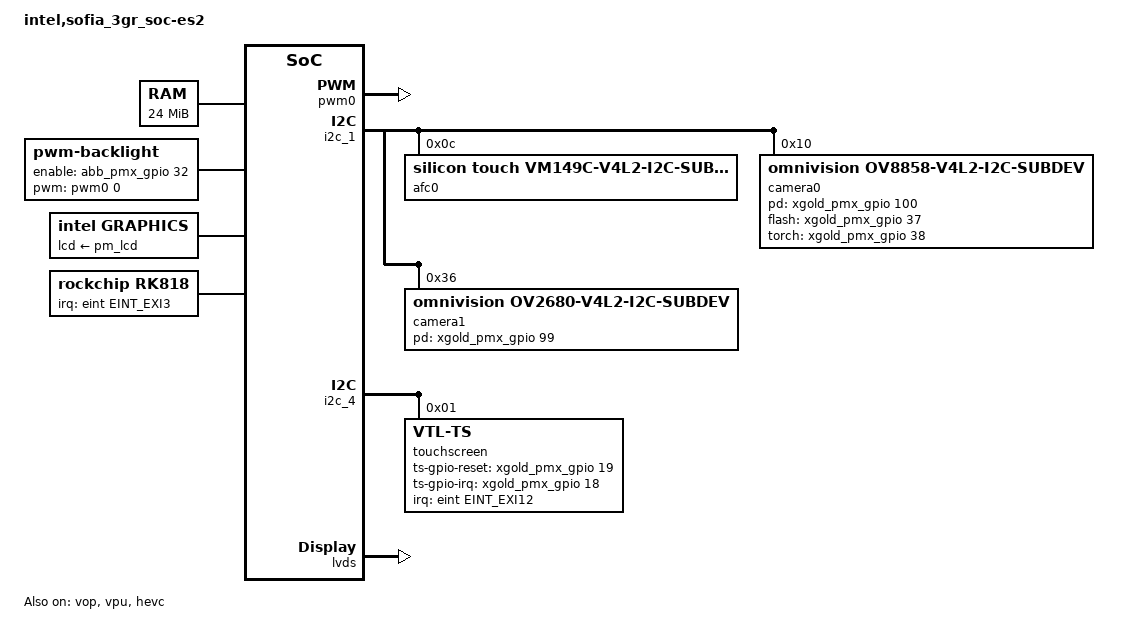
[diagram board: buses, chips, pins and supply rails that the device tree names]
/dts-v1/;
#include "xgold/sofia_3gr_soc/irq.h"
#include <dt-bindings/sofiafb/sofia_fb.h>
/ {
	#address-cells = <1>;
	#size-cells = <1>;
	model = "intel,sofia_3gr_soc-es2";
	compatible = "intel,sofia_3gr_soc-svb", "intel,xgold";

	#include "xgold/sofia_3gr_soc/sofia_3gr_soc.dtsi"
	#include "xgold/sofia_3gr_soc/irq.dtsi"
	#include "xgold/mobilevisor/mobilevisor.dtsi"
	#include "xgold/sofia_3gr_soc/clock-es1.dtsi"
	#include "xgold/sofia_3gr_soc/regulator.dtsi"
	#include "xgold/sofia_3gr_soc/device-pm-reg.dtsi"
	#include "xgold/pmic/granite.dtsi"
	#include "xgold/sofia_3gr_soc/cpufreq.dtsi"

	chosen {
	};

	aliases {
	};

	memory {
		device_type = "memory";
		reg = <0x800000 0x1800000>;
	};

	reserved-memory {
		#address-cells = <1>;
		#size-cells = <1>;
		ranges;

		/* global autoconfigured region for contiguous allocations */
		cma_default_region: region@0 {
			size = <0x08000000>;
			limit = <0x10000000>;
			linux,cma-default;
		};
	};

	vmodem {
		compatible = "intel,vmodem";
		vmodem,nvm-part = < 3 >;
		vmodem,part-names =
			"/dev/block/platform/soc0/e0000000.noc/by-name/ImcPartID022",
			"/dev/block/platform/soc0/e0000000.noc/by-name/ImcPartID023",
			"/dev/block/platform/soc0/e0000000.noc/by-name/ImcPartID024";
		part-addr,part-size =
			<0x1FA78000 0x40000>,
			<0x1fab8000 0x40000>,
			<0x1FAF8000 0x80000>;
	};

	ion {
		compatible = "rockchip,ion";
#ifndef RECOVERY_KERNEL
		secvm-handler;
#endif
		#address-cells = < 1 >;
		#size-cells = < 0 >;
		cma-heap {
			memory-region = <&cma_default_region>;
			rockchip,ion_heap = < 4 >;
		};
		system-heap {
			rockchip,ion_heap = < 0 >;
		};
	};

	backlight {
                compatible = "pwm-backlight";
                brightness-levels = <
                         20  20  20  20  20  20  20  20
                         20  20  20  20  20  20  20  20
                         20  20  20  20  20  21  22  23
                         24  25  26  27  28  29  30  31
                         32  33  34  35  36  37  38  39
                         40  41  42  43  44  45  46  47
                         48  49  50  51  52  53  54  55
                         56  57  58  59  60  61  62  63
                         64  65  66  67  68  69  70  71
                         72  73  74  75  76  77  78  79
                         80  81  82  83  84  85  86  87
                         88  89  90  91  92  93  94  95
                         96  97  98  99 100 101 102 103
                        104 105 106 107 108 109 110 111
                        112 113 114 115 116 117 118 119
                        120 121 122 123 124 125 126 127
                        128 129 130 131 132 133 134 135
                        136 137 138 139 140 141 142 143
                        144 145 146 147 148 149 150 151
                        152 153 154 155 156 157 158 159
                        160 161 162 163 164 165 166 167
                        168 169 170 171 172 173 174 175
                        176 177 178 179 180 181 182 183
                        184 185 186 187 188 189 190 191
                        192 193 194 195 196 197 198 199
                        200 201 202 203 204 205 206 207
                        208 209 210 211 212 213 214 215
                        216 217 218 219 220 221 222 223
                        224 225 226 227 228 229 230 231
                        232 233 234 235 236 237 238 239
                        240 241 242 243 244 245 246 247
                        248 249 250 251 252 253 254 255>;
                default-brightness-level = <128>;
                enable-gpios = <&abb_pmx_gpio 32 0>;
                pinctrl-names = "default", "sleep", "inactive";
                pinctrl-0 = <&led_agold_default_pins>;
                pinctrl-1 = <&led_agold_sleep_pins>;
                pinctrl-2 = <&led_agold_inactive_pins>;
                pwms = <&pwm0 0 25000 PWM_POLARITY_INVERTED>;
                dev-name = "lcd-backlight";
        };

#ifndef RECOVERY_KERNEL
	/*headset:headset {
		compatible = "intel,headset";
		#address-cells = < 0 >;
		reg = <0xE6501C00 0x4>;
		reg-names = "headset-registers";
		interrupts = < 0 1 >;
		interrupt-parent = < &headset>;
		#interrupt-cells = < 1 >;
		interrupt-map = <
			 0 &ag620_pmu ABB_PMU_ACD1 XGOLD_IRQ_TYPE_NONE
			 1 &ag620_pmu ABB_PMU_ACD2 XGOLD_IRQ_TYPE_NONE
			>;
		interrupt-names = "acd1", "acd2";
		io-channel-names = "ACCID_ADC";
		io-channels = < &meas 4 >;
	};*/
#endif
	fb {
		compatible = "rockchip,fb";
		rockchip,disp-mode = <NO_DUAL>;
		rockchip,loader-logo-on = <1>;
		rockchip,ion-drv = "rockchip";
	};

	screen {
		compatible = "rockchip,screen";
		pm,class-name = "generic_class";
		pm,user-name = "lcd";
		pm,state-D0 = "enable";
		pm,state-D3 = "disable";
		#include "xgold/display/lcd-claa070wp03xg.dtsi"
	};

	graphics {
		compatible = "intel,graphics";
		intel,gpu-shared-mem = <0x20000000>;
		intel,dcc-fbpixelformat= "RGB888";
		intel,dcc-debug-level = <1>;
		intel,fb-api = <1>;
#ifdef RECOVERY_KERNEL
		intel,dcc-mem = < 0x00800000 >;
#else
		intel,dcc-use-fences = <1>;
		intel,dcc-mem = < 0x00400000 >;
		intel,prot-mem = < 0x08000000 0x08000000>;
#endif
		intel,display-fps = <60>;
		intel,display-ramless = <1>;
		intel,display-preinit = <0>;
		intel,display-if = <&mipi_dsi>;
		intel,display-if-rate = <450000000>;
		lcd-supply = <&pm_lcd>;
		/include/ "xgold/display/claa070wp03xg.dtsi"
		mipi_dsi:mipi-dsi {
				intel,display-if-min = <104000000>;
				intel,display-if-max = <550000000>;
				intel,display-if-nblanes = <4>;
				intel,display-if-phy-pwup = <6>;
				intel,display-if-phy-calib = <3>;
				intel,display-if-phy-to_lp_hs_req = <24>;
				intel,display-if-phy-to_lp_hs_dis = <25>;
				intel,display-if-phy-to_lp_hs_eot = <60>;
				intel,display-if-phy-to_hs_zero = <8>;
				intel,display-if-phy-to_hs_flip = <24>;
				intel,display-if-phy-lp_clk_div = <31>;
				intel,display-if-phy-to_hs_clk_pre = <36>;
				intel,display-if-phy-to_hs_clk_post = <42>;
				intel,display-if-phy-data_delay = <7>;
				intel,display-if-phy-clock_delay = <7>;
				intel,display-if-phy-lp_tx_tfall = <2>;
				intel,display-if-phy-lp_tx_rise = <2>;
				intel,display-if-phy-lp_tx_vref = <31>;
		};
	};

#ifndef RECOVERY_KERNEL
	sound {
		compatible = "intel,xgold-snd-asoc";
		intel,audio-codec = < &afe >;
		intel,pcm-audio = <&pcm_music>;
		intel,pcm-voice = <&pcm_voice>;
		intel,speech = <&speech_probe>;
		intel,jack = <&headset>;
	};
#endif

	rk818  {
		compatible = "rockchip,rk818";
		status = "okay";
		interrupt-parent = <&eint>;
		interrupts = < EINT_EXI3 XGOLD_IRQ_TYPE_EDGE_FALLING >;
		pinctrl-names = "default", "sleep", "inactive";
		pinctrl-0 = <&pmu_default_pins>;
		pinctrl-1 = <&pmu_sleep_pins>;
		pinctrl-2 = <&pmu_inactive_pins>;
		battery {
			ocv_table = <3350 3677 3693 3719 3752 3770 3775 3778 3785 3796 3812 3839 3881 3907 3933 3958 3978 4033 4087 4123 4174>;
			design_capacity = <4000>;
			design_qmax = <4100>;
			max_overcharge = <100>;
			max_charge_currentmA = <1500>;
			max_charge_voltagemV = <4260>;
			max_bat_voltagemV = <4200>;
			sleep_enter_current = <150>;
			sleep_exit_current = <180>;
		};
	};
};

&eint {
	/* intel,virq,x = <0>; means EINTx is owned & requested by IRQ framework */
	intel,virq,0 = <0>; /* EINT_EXI0: ??? */
	intel,virq,1 = <0>; /* EINT_EXI1: TOUCH */
	intel,virq,2 = <0>; /* EINT_EXI2: ??? */
	intel,virq,3 = <0>; /* EINT_EXI3: ??? */
	intel,virq,4 = <1>; /* EINT_EXI4 */
	intel,virq,5 = <1>; /* EINT_EXI5 */
	intel,virq,6 = <0>; /* EINT_EXI6: ??? */
	intel,virq,7 = <1>; /* EINT_EXI7 */
	intel,virq,8 = <0>; /* EINT_EXI8 */
	intel,virq,9 = <1>; /* EINT_EXI9 */
	intel,virq,10 = <1>; /* EINT_EXI10 */
	intel,virq,11 = <1>; /* EINT_EXI11 */
	intel,virq,12 = <0>; /* EINT_EXI12: ??? */
	intel,virq,13 = <1>; /* EINT_EXI13 */
	intel,virq,14 = <1>; /* EINT_EXI14 */
	intel,virq,15 = <1>; /* EINT_EXI15 */
	intel,virq,16 = <0>; /* EINT_USB_HS_RESUME */
	intel,virq,17 = <0>; /* EINT_SDMMC_DETECT */
	intel,virq,18 = <1>; /* EINT_SDIO_DAT3 */
	intel,virq,19 = <1>; /* EINT_SDIO_DAT1 */
	intel,virq,20 = <0>; /* EINT_USIF1_WK */
	intel,virq,21 = <1>; /* EINT_USIF2_WK */
	intel,virq,22 = <1>; /* EINT_WUP_DBB */
	intel,virq,23 = <1>; /* EINT_U2H */
	intel,virq,24 = <1>; /* EINT_G3FP */
	intel,virq,25 = <1>; /* EINT_DTXS */
	intel,virq,26 = <1>; /* EINT_DRXS */
	intel,virq,27 = <1>; /* EINT_WDT0 */
	intel,virq,28 = <1>; /* EINT_WDT1 */
	intel,virq,29 = <0>; /* EINT_USB_ID */

	intel,preack,8 = <1>; /* EINT_EXI8 */
	intel,preack,16 = <1>; /* EINT_USB_HS_RESUME*/
	intel,preack,20 = <1>; /* EINT_USIF1_WK */
};

&idi_per {
	#include "xgold/agold620/agold620.dtsi"
};

&bat_hal {
	#define BAT_TYPE_LC 0
	#define POWER_SUPPLY_TECHNOLOGY_LION 2

	supp_batids =  < 0 BAT_TYPE_LC >;

	supp_batids-map = "standrd";

	prof-standrd = < POWER_SUPPLY_TECHNOLOGY_LION /*battery_type*/
				  2885 /*capacity*/
				  4350 /*voltage_max*/
				  144 /*chrg_term_ma*/
				  3200 /*low_batt_mv*/
				  60 /*disch_tmp_ul*/
				  0xffffffec /*disch_tmp_ll (-20)*/
				  0 /*min_temp*/
				  3 /*min_temp_restart*/
				  42 /*max_temp_restart*/ >;

	prof-standrd-cap_to_vbat_ocv = <
		3202 3378 3493 3569 3624 3661 3674 3680 3685 3689
		3692 3696 3700 3705 3713 3721 3728 3735 3742 3747
		3752 3758 3763 3767 3770 3773 3776 3778 3780 3782
		3784 3787 3789 3791 3794 3796 3799 3802 3805 3808
		3811 3815 3818 3822 3826 3830 3834 3839 3844 3848
		3854 3859 3865 3871 3877 3884 3891 3899 3907 3915
		3922 3930 3938 3946 3954 3963 3971 3979 3988 3996
		4005 4014 4023 4033 4043 4053 4062 4072 4082 4091
		4102 4112 4122 4133 4143 4154 4165 4176 4187 4198
		4209 4220 4232 4243 4255 4266 4277 4286 4297 4307
		4314 >;


	prof-standrd-ntemp_ranges = <1>;

	prof-standrd-temp_range0 = < 45 /*max_temp*/
					     4320 /*full_chrg_vol*/
					     1500 /*full_chrg_cur*/
					     98 /*charging_res_cap*/
					     4320 /*maint_chrg_vol_ul*/
					     1500 /*maint_chrg_cur*/ >;

	nprofiles = <1>;
};

&fuel_gauge_hal {
	sense_resistor_mohm = <20>;
	gain_error_1_uc_per_mc = <30>;
	gain_error_2_uc_per_mc = <30>;
};

/*&usif1 {
	pinctrl-names = "default", "sleep", "inactive";
	pinctrl-0 = <&usif2_default_pins>;
	pinctrl-1 = <&usif2_sleep_pins>;
	pinctrl-2 = <&usif2_inactive_pins>;
};
*/
/*
&usif2 {
	pinctrl-names = "default", "sleep", "inactive";
	pinctrl-0 = <&usif2_function_B_active_pins>;
	pinctrl-1 = <&usif2_function_B_sleep_pins>;
	pinctrl-2 = <&usif2_function_B_inactive_pins>;
};
*/

&pwm0  {
        pinctrl-names = "default", "sleep", "inactive";
        pinctrl-0 = <&pwm0_default_pins>;
        pinctrl-1 = <&pwm0_sleep_pins>;
        pinctrl-2 = <&pwm0_inactive_pins>;
        status = "okay";
};

&i2c_1 {
	pinctrl-names = "default", "sleep", "inactive";
	pinctrl-0 = <&i2c1_default_pins>;
	pinctrl-1 = <&i2c1_sleep_pins>;
	pinctrl-2 = <&i2c1_inactive_pins>;

#ifndef RECOVERY_KERNEL
	afc0: af-controller@0 {
		compatible = "silicon touch,vm149c-v4l2-i2c-subdev";
		reg = < 0x0C >;
	};

	camera0: camera-module@0 {
		compatible = "omnivision,OV8858-v4l2-i2c-subdev";
		reg = < 0x10 >;
		device_type = "v4l2-i2c-subdev";

		pinctrl-names = "default", "sleep", "inactive";
		pinctrl-0 = <&cam1_function_B_active_pins>;
		pinctrl-1 = <&cam1_function_B_sleep_pins>;
		pinctrl-2 = <&cam1_function_B_inactive_pins>;

		intel,pd-gpio = <&xgold_pmx_gpio 100 0>;
		intel,pd-gpio-is_active_low;
		intel,flash-gpio = <&xgold_pmx_gpio 37 0>;
		intel,torch-gpio = <&xgold_pmx_gpio 38 0>;

		pm,class-name = "generic_class";
		pm,user-name = "primcam";
		pm,state-D0 = "enable";
		pm,state-D3 = "disable";


		intel,camera-module-facing = "back";
		intel,camera-module-mounting = "landscape";
		intel,camera-module-flash-support = <1>;
		intel,camera-module-flash-exp-time = <5000>;

		intel,af-ctrl = <&afc0>;

		intel,camera-module-csi-config-0 {
			intel,csi-pixels-per-second = <0>;
			intel,csi-vc = <0>;
			intel,csi-lanes = <2>;
			intel,csi-dphy1 = <0x2014183>;
			intel,csi-dphy2 = <0x00>;
			intel,csi-ana-bandgap-bias = <3>;
		};
		intel,camera-module-csi-config-1 {
			intel,csi-pixels-per-second = <100000000>;
			intel,csi-vc = <0>;
			intel,csi-lanes = <4>;
			intel,csi-dphy1 = <0x600E1C1>;
			intel,csi-dphy2 = <0x00>;
			intel,csi-ana-bandgap-bias = <3>;
		};
	};
#endif
#ifndef RECOVERY_KERNEL
	camera1: camera-module@1 {
		compatible = "omnivision,ov2680-v4l2-i2c-subdev";
		reg = < 0x36 >;
		device_type = "v4l2-i2c-subdev";

		pinctrl-names = "default", "sleep", "inactive";
		pinctrl-0 = <&cam2_function_B_active_pins>;
		pinctrl-1 = <&cam2_function_B_sleep_pins>;
		pinctrl-2 = <&cam2_function_B_inactive_pins>;

		intel,pd-gpio = <&xgold_pmx_gpio 99 0>;
		intel,pd-gpio-is_active_low;

		pm,class-name = "generic_class";
		pm,user-name = "seccam";
		pm,state-D0 = "enable";
		pm,state-D3 = "disable";

		intel,camera-module-facing = "front";
		intel,camera-module-mounting = "landscape";
		intel,camera-module-flash-support = <1>;
		intel,camera-module-flash-exp-time = <5000>;

		intel,camera-module-csi-config-0 {
			intel,csi-pixels-per-second = <0>;
			intel,csi-vc = <0>;
			intel,csi-lanes = <1>;
			intel,csi-dphy1 = <0x60121A9>;
			intel,csi-dphy2 = <0x00>;
			intel,csi-ana-bandgap-bias = <3>;
		};
    };
#endif
};



&i2c_4 {
	pinctrl-names = "default", "sleep", "inactive";
	pinctrl-0 = <&i2c4_default_pins>;
	pinctrl-1 = <&i2c4_sleep_pins>;
	pinctrl-2 = <&i2c4_inactive_pins>;
#ifndef RECOVERY_KERNEL
	touchscreen {
		compatible = "VTL-TS";
		reg = < 0x01 >;
		interrupt-parent = <&eint>;
		interrupts = < EINT_EXI12 XGOLD_IRQ_TYPE_EDGE_FALLING >;
		pinctrl-names = "default", "sleep", "inactive";
		pinctrl-0 = <&touch_default_pins>;
		pinctrl-1 = <&touch_sleep_pins>;
		pinctrl-2 = <&touch_inactive_pins>;
		intel,ts-gpio-reset = <&xgold_pmx_gpio 19 0>;
		intel,ts-gpio-irq = <&xgold_pmx_gpio 18 0>;
		pm,class-name = "gt9xx_class";
		pm,user-name = "tp";
		pm,state-D0 = "enable";
		pm,state-D3 = "disable";
		intel,max-x = <800>;
		intel,max-y = <1280>;
	};
#endif
};


#ifndef RECOVERY_KERNEL
&afe {
	pinctrl-names = "default", "sleep", "inactive";
	pinctrl-0 = <&dm_agold_default_pins>;
	pinctrl-1 = <&dm_agold_sleep_pins>;
	pinctrl-2 = <&dm_agold_inactive_pins>;
};
#endif

&sd {
	intel,tap_values = <0x0C51020 0x0C41020 0x0C41020 0x1114120 0x0C51020 0x0F50F20 0x0F50F20>;
	pinctrl-names = "default", "sleep", "inactive";
	pinctrl-0 = <&sdmmc_default_pins>;
	pinctrl-1 = <&sdmmc_sleep_pins>;
	pinctrl-2 = <&sdmmc_inactive_pins>;
};

&emmc {
	intel,tap_values = < 0x00c51021  0x006f1021   0x00c51021  0x004f1021  0x00c51021  0x00a50f11  0x00c51021 >;
	pinctrl-names = "default", "sleep", "inactive";
	pinctrl-0 = <&emmc_default_pins>;
	pinctrl-1 = <&emmc_sleep_pins>;
	pinctrl-2 = <&emmc_inactive_pins>;

};

&keypad {
	pinctrl-names = "default", "sleep", "inactive";
	pinctrl-0 = <&kp_default_pins>;
	pinctrl-1 = <&kp_sleep_pins>;
	pinctrl-2 = <&kp_inactive_pins>;
	keypad,num-rows = <9>;
	keypad,num-columns = <8>;
	keypad,rows = <3 8>;
	keypad,columns = <3 4>;
	linux,keymap = <0x03030072	/* KEY_VOLUMEDOWN */
			0x03040073	/* KEY_VOLUMEUP */
			0x08030074	/* KEY_POWER */
			0x0804008b>;	/* KEY_MENU */
};

&vop {
	status = "okay";
	rockchip,fb-win-map = <FB_DEFAULT_ORDER>;
	rockchip,iommu-enabled = <1>;
	pm,state-D0 = "low_perf";
};

&lvds {
	status = "okay";
	pinctrl-names = "default", "sleep", "inactive";
	pinctrl-0 = <&lvds_default_pins>;
	pinctrl-1 = <&lvds_sleep_pins>;
	pinctrl-2 = <&lvds_inactive_pins>;
};

#ifndef RECOVERY_KERNEL
&cif {
	intel,camera-modules-attached = <&camera0 &camera1>;
};

&vpu {
       status = "okay";
};

&hevc {
       status = "okay";
};
#endif

#include "xgold/sofia_3gr_soc/pinctrl-sf_3gr-es1-svb-rk.dtsi"
#include "xgold/agold620/pinctrl-sf_3g-es2.1-svb.dtsi"
